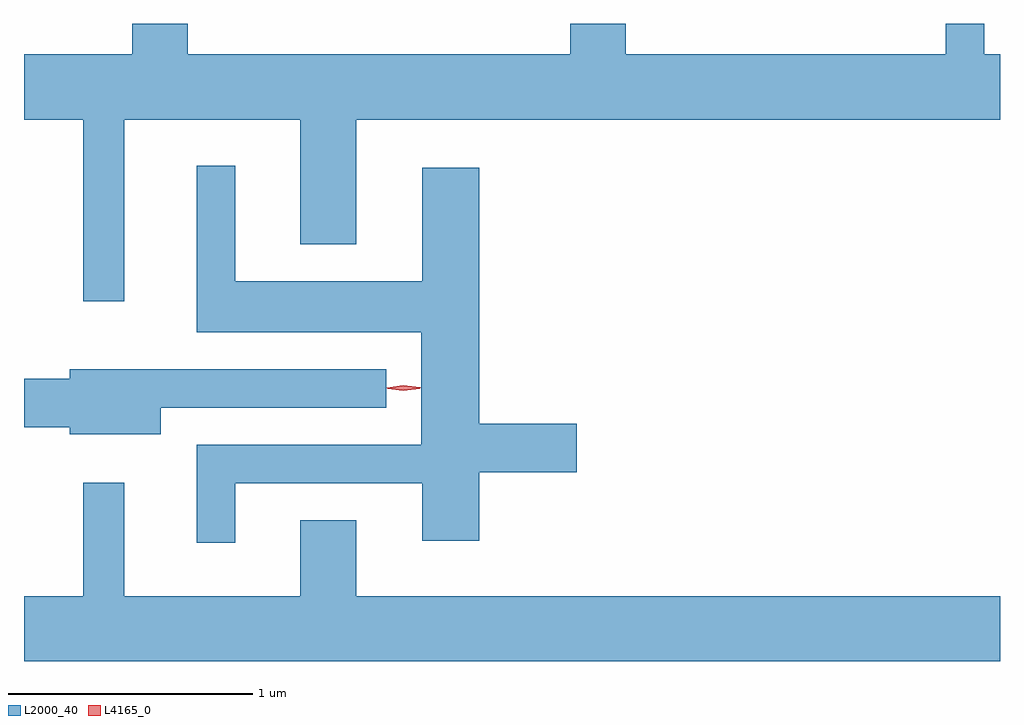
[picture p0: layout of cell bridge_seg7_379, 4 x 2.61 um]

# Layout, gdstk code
import gdstk
lib = gdstk.Library(unit=1e-6, precision=1e-09)
def P(c, l, *ps):  # polygons
    for p in ps: c.add(gdstk.Polygon(p, *l))
L2000_40 = (2000, 40)
L4165_0 = (4165, 0)

bridge_seg7_379 = lib.new_cell('bridge_seg7_379')
P(bridge_seg7_379, L2000_40, [(1082.059,1798.676),(1082.781,1798.676),(1082.781,1798.166),(1083.009,1798.166),(1083.009,1798.676),(1085.648,1798.676),(1085.648,1798.944),(1085.584,1798.944),(1085.584,1799.07),(1085.426,1799.07),(1085.426,1798.944),(1084.114,1798.944),(1084.114,1799.07),(1083.886,1799.07),(1083.886,1798.944),(1082.319,1798.944),(1082.319,1799.07),(1082.091,1799.07),(1082.091,1798.944),(1081.648,1798.944),(1081.648,1798.676),(1081.891,1798.676),(1081.891,1797.933),(1082.059,1797.933)],
  [(1082.514,1797.186),(1083.281,1797.186),(1083.281,1796.951),(1083.514,1796.951),(1083.514,1797.231),(1083.914,1797.231),(1083.914,1797.429),(1083.514,1797.429),(1083.514,1798.479),(1083.281,1798.479),(1083.281,1798.014),(1082.514,1798.014),(1082.514,1798.488),(1082.356,1798.488),(1082.356,1797.806),(1083.276,1797.806),(1083.276,1797.344),(1082.356,1797.344),(1082.356,1796.943),(1082.514,1796.943)],
  [(1082.209,1797.496),(1083.133,1797.496),(1083.133,1797.654),(1081.836,1797.654),(1081.836,1797.614),(1081.648,1797.614),(1081.648,1797.416),(1081.836,1797.416),(1081.836,1797.386),(1082.209,1797.386)],
  [(1085.648,1796.724),(1083.009,1796.724),(1083.009,1797.034),(1082.781,1797.034),(1082.781,1796.724),(1082.059,1796.724),(1082.059,1797.188),(1081.891,1797.188),(1081.891,1796.724),(1081.648,1796.724),(1081.648,1796.456),(1085.648,1796.456)])
P(bridge_seg7_379, L4165_0, [(1083.204,1797.568),(1083.134,1797.578),(1083.134,1797.578),(1083.134,1797.578),(1083.203,1797.588),(1083.272,1797.579),(1083.273,1797.578),(1083.272,1797.578)],
  [(1083.203,1797.565),(1083.138,1797.574),(1083.137,1797.575),(1083.138,1797.576),(1083.203,1797.585),(1083.269,1797.575),(1083.269,1797.575),(1083.269,1797.574)])

lib.write_gds('bridge_seg7_379.gds')
